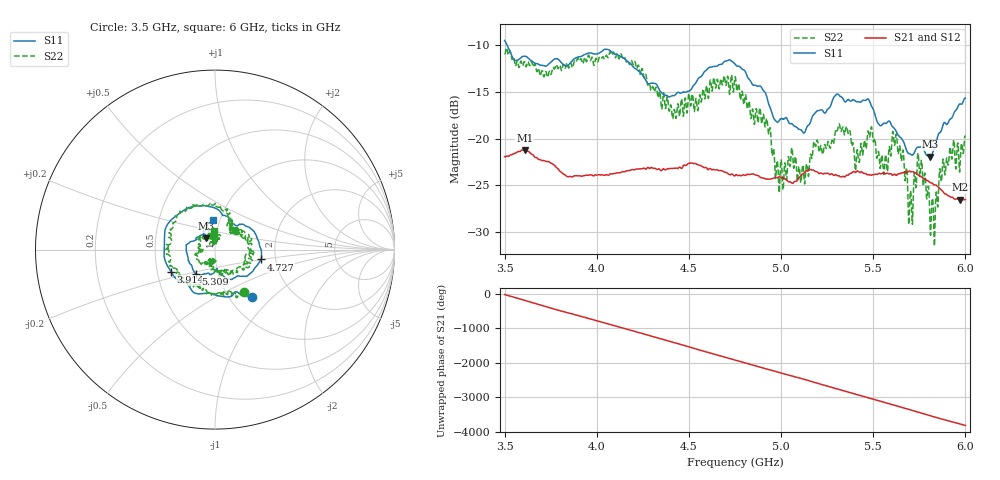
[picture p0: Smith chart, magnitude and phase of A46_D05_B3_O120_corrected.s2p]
! Created with skrf 1.9.0 (http://scikit-rf.org).
# Hz S RI R 50.0
!freq ReS11 ImS11 ReS21 ImS21 ReS12 ImS12 ReS22 ImS22
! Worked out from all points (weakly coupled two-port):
!   1601 points, 3.5 GHz to 6 GHz, reference 50 ohm
!   highest |S21| = -21.21 dB at 3.609 GHz (marker M1); lowest = -26.5 dB at 5.97 GHz (marker M2)
!   lowest |S11| = -21.9 dB at 5.808 GHz (marker M3), VSWR 1.17, Z = 44.9 + j5.6 ohm
!   |S11| at or under -10 dB: 3.513 GHz to end of sweep
!   |S22| runs from -31.5 to -10.3 dB; largest |S21 - S12| = 0.0012
!   S11 on the Smith chart (normalised r, x): 3.5 GHz: 1.27, -0.75; 3.914 GHz: 0.59, -0.16; 4.727 GHz: 1.67, -0.20; 5.309 GHz: 0.78, -0.22; 6 GHz: 0.93, +0.31
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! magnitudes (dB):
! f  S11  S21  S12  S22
! 3.5 GHz  -9.5  -21.9  -21.9  -11.0
! 3.609 GHz  -11.2  -21.2  -21.2  -11.8
! 3.914 GHz  -11.2  -24.0  -23.9  -11.5
! 3.917 GHz  -11.2  -24.0  -24.0  -11.6
! 4.139 GHz  -11.3  -23.5  -23.5  -11.3
! 4.334 GHz  -14.6  -23.2  -23.2  -15.6
! 4.42 GHz  -15.4  -23.2  -23.1  -16.9
! 4.727 GHz  -11.6  -23.9  -23.7  -14.0
! 4.75 GHz  -12.0  -24.0  -23.9  -13.4
! 4.931 GHz  -16.2  -24.3  -24.2  -19.4
! 4.981 GHz  -18.2  -24.2  -24.1  -22.6
! 5.167 GHz  -17.8  -23.4  -23.3  -22.1
! 5.309 GHz  -15.3  -24.0  -23.9  -18.8
! 5.412 GHz  -16.1  -23.5  -23.4  -21.3
! 5.483 GHz  -16.1  -23.9  -23.8  -19.6
! 5.584 GHz  -18.1  -23.8  -23.7  -21.2
! 5.634 GHz  -19.6  -23.8  -23.7  -21.6
! 5.703 GHz  -21.7  -23.6  -23.5  -25.6
! 5.752 GHz  -20.9  -24.0  -23.9  -24.0
! 5.808 GHz  -21.9  -24.7  -24.6  -29.0
! 5.97 GHz  -16.3  -26.5  -26.5  -23.2
! 6 GHz  -15.7  -26.5  -26.4  -19.8
